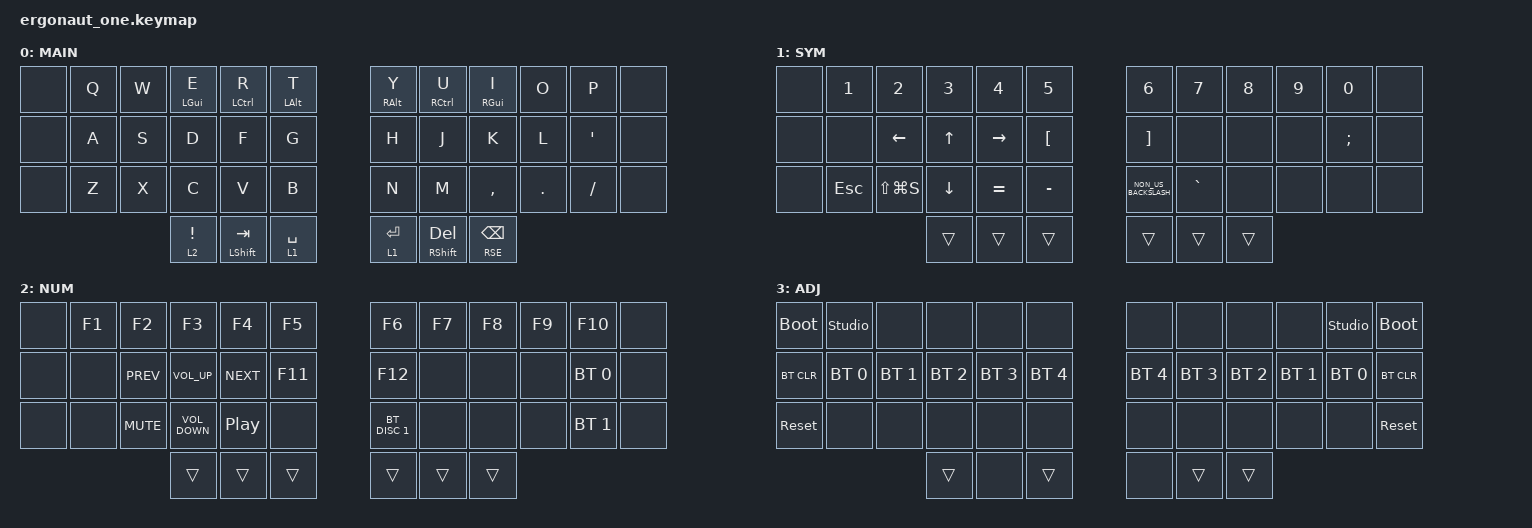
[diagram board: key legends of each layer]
#include <behaviors.dtsi>
#include <dt-bindings/zmk/bt.h>
#include <dt-bindings/zmk/keys.h>

#define DEF 0
#define LWR 1
#define RSE 2
#define ADJ 3

&lt { quick-tap-ms = <200>; };

&mt { quick-tap-ms = <200>; };

/ {
    conditional_layers {
        compatible = "zmk,conditional-layers";

        tri-layer {
            if-layers = <LWR RSE>;
            then-layer = <ADJ>;
        };
    };

    keymap {
        compatible = "zmk,keymap";

        default_layer {
            display-name = "MAIN";
            bindings = <
&none  &kp Q  &kp W  &mt LGUI E  &mt LCTRL R    &mt LALT T   &mt RIGHT_ALT Y  &mt RCTRL U    &mt RGUI I         &kp O    &kp P             &none
&none  &kp A  &kp S  &kp D       &kp F          &kp G        &kp H            &kp J          &kp K              &kp L    &kp SINGLE_QUOTE  &none
&none  &kp Z  &kp X  &kp C       &kp V          &kp B        &kp N            &kp M          &kp COMMA          &kp DOT  &kp FSLH          &none
                     &lt 2 EXCL  &mt LSHFT TAB  &lt 1 SPACE  &lt 1 ENTER      &mt RSHFT DEL  &lt RSE BACKSPACE
            >;
        };

        lower_layer {
            display-name = "SYM";
            bindings = <
&none  &kp N1      &kp N2          &kp N3          &kp N4     &kp N5            &kp NUMBER_6          &kp N7     &kp N8  &kp N9  &kp N0    &none
&none  &none       &kp LEFT_ARROW  &kp UP_ARROW    &kp RIGHT  &kp LEFT_BRACKET  &kp RIGHT_BRACKET     &none      &none   &none   &kp SEMI  &none
&none  &kp ESCAPE  &kp LS(LG(S))   &kp DOWN_ARROW  &kp EQUAL  &kp MINUS         &kp NON_US_BACKSLASH  &kp GRAVE  &none   &none   &none     &none
                                   &trans          &trans     &trans            &trans                &trans     &trans
            >;
        };

        raise_layer {
            display-name = "NUM";
            bindings = <
&none  &kp F1  &kp F2      &kp F3             &kp F4            &kp F5   &kp F6         &kp F7  &kp F8  &kp F9  &kp F10       &none
&none  &none   &kp C_PREV  &kp C_VOLUME_UP    &kp C_NEXT        &kp F11  &kp F12        &none   &none   &none   &bt BT_SEL 0  &none
&none  &none   &kp C_MUTE  &kp C_VOLUME_DOWN  &kp C_PLAY_PAUSE  &none    &bt BT_DISC 1  &none   &none   &none   &bt BT_SEL 1  &none
                           &trans             &trans            &trans   &trans         &trans  &trans
            >;
        };

        adjust_layer {
            display-name = "ADJ";
            bindings = <
&bootloader  &studio_unlock  &none         &none         &none         &none         &none         &none         &none         &none         &studio_unlock  &bootloader
&bt BT_CLR   &bt BT_SEL 0    &bt BT_SEL 1  &bt BT_SEL 2  &bt BT_SEL 3  &bt BT_SEL 4  &bt BT_SEL 4  &bt BT_SEL 3  &bt BT_SEL 2  &bt BT_SEL 1  &bt BT_SEL 0    &bt BT_CLR
&sys_reset   &none           &none         &none         &none         &none         &none         &none         &none         &none         &none           &sys_reset
                                           &trans        &none         &trans        &none         &trans        &trans
            >;
        };
    };
};
